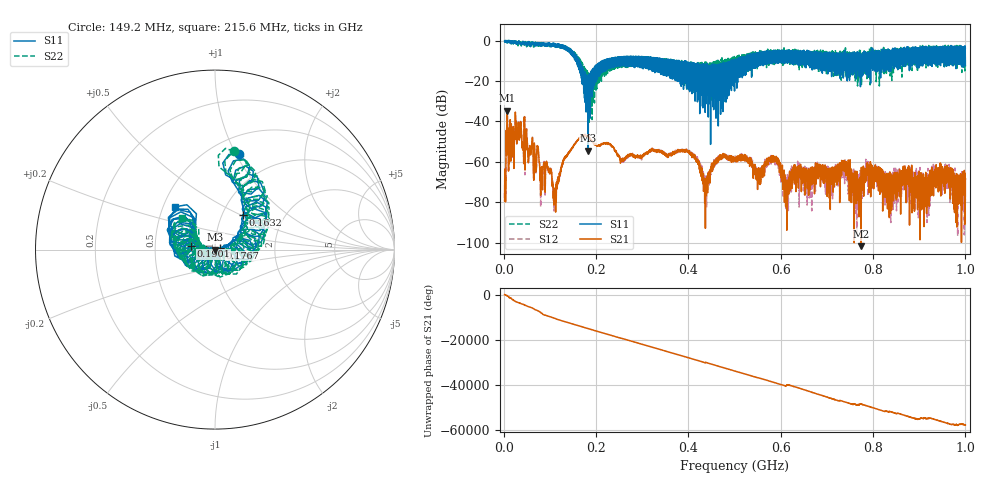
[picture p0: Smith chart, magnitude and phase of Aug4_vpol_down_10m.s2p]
!Keysight Technologies N9923A: A.12.45
!Date: Tuesday, 05 August 2025 20:31:08
!Timezone: (UTC+08:00) Kuala Lumpur, Singapore
!Model: N9923A
!Serial: MY61181427
!GPS Latitude:
!GPS Longitude:
!GPS TimeStamp: 0001-01-01 00:00:00Z
!GPS Seconds Since Last Read: 0
!CHECKSUM:0109211665
!Correction: S11(ON U)S21(ON U)S12(ON U)S22(ON U)
!S2P File: Measurements:S11,S21,S12,S22:
# Hz S DB R 50
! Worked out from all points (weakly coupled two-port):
!   4001 points, 2 MHz to 1 GHz, reference 50 ohm
!   highest |S21| = -34.69 dB at 7.739 MHz (marker M1); lowest = -101.8 dB at 774.2 MHz (marker M2)
!   lowest |S11| = -54.5 dB at 183.1 MHz (marker M3), VSWR 1.00, Z = 50.2 - j0.00389 ohm
!   |S11| at or under -10 dB: 162.9 MHz to 215.5 MHz (52.58 MHz wide, 27.8 % of centre); 380.3 MHz to 391.9 MHz (11.62 MHz wide, 3.01 % of centre); 392 MHz to 493.9 MHz (101.9 MHz wide, 23 % of centre)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
!   |S22| runs from -40.4 to 0.1 dB; largest |S21 - S12| = 0.001
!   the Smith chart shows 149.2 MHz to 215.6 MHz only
!   S11 on the Smith chart (normalised r, x): 149.2 MHz: 0.68, +1.02; 163.2 MHz: 1.25, +0.51; 176.7 MHz: 1.06, +0.02; 190.1 MHz: 0.76, +0.03; 215.6 MHz: 0.57, +0.31
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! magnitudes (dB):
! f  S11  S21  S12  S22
! 2 MHz  -0.1  -79.3  -77.8  -0.1
! 7.739 MHz  -0.8  -34.7  -34.5  -1.0
! 33.94 MHz  -0.7  -49.1  -48.7  -0.5
! 110.3 MHz  -2.2  -79.0  -80.6  -2.7
! 149.2 MHz  -5.3  -53.0  -52.9  -5.1
! 163.2 MHz  -12.1  -48.5  -48.3  -10.0
! 168.4 MHz  -18.6  -47.5  -47.4  -14.8
! 176.7 MHz  -30.6  -47.3  -47.0  -19.4
! 183.1 MHz  -54.5  -47.9  -47.9  -20.7
! 190.1 MHz  -17.3  -49.4  -49.3  -26.5
! 215.6 MHz  -9.7  -51.0  -50.8  -11.8
! 334.8 MHz  -8.8  -54.0  -53.9  -10.3
! 402.7 MHz  -18.5  -55.6  -55.3  -12.8
! 436.6 MHz  -19.9  -74.5  -70.2  -22.8
! 501 MHz  -9.7  -59.7  -58.7  -9.1
! 587.8 MHz  -6.5  -58.5  -58.1  -9.5
! 613 MHz  -6.6  -77.3  -72.8  -10.2
! 667.4 MHz  -5.7  -68.4  -67.5  -7.2
! 774.2 MHz  -18.0  -101.8  -68.3  -6.5
! 833.8 MHz  -6.3  -76.6  -66.9  -13.6
! 955.1 MHz  -4.5  -62.4  -63.4  -10.2
! 1 GHz  -12.3  -68.4  -79.1  -3.9
